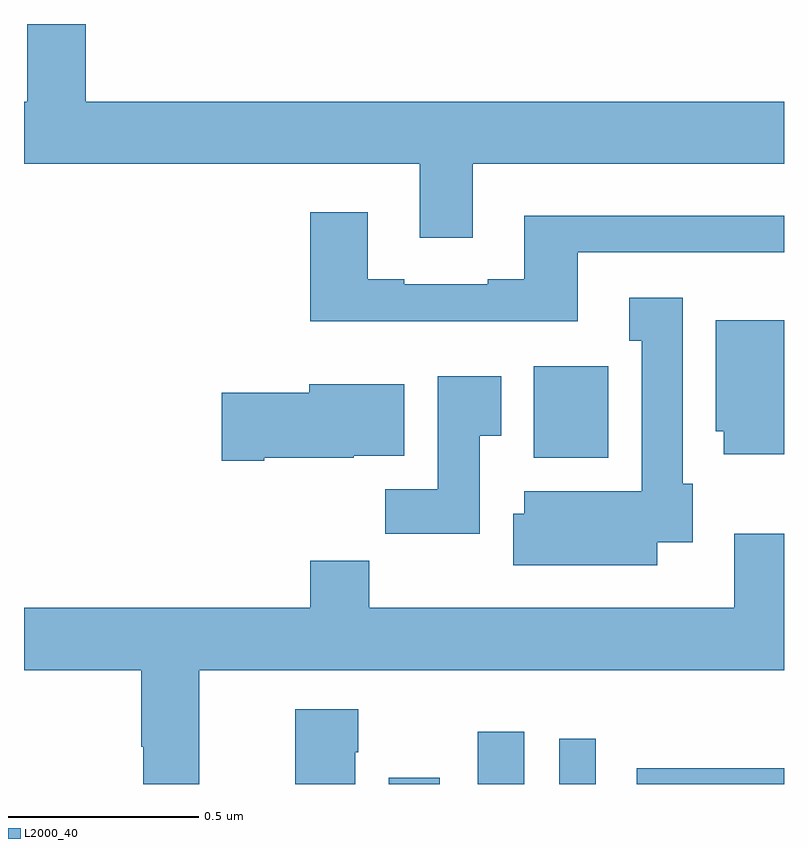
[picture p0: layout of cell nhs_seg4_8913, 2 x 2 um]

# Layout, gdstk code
import gdstk
lib = gdstk.Library(unit=1e-6, precision=1e-09)
def R(c, l, rs):  # rectangles x0, y0, x1, y1
    for r in rs: c.add(gdstk.rectangle(r[:2], r[2:], *l))
def P(c, l, *ps):  # polygons
    for p in ps: c.add(gdstk.Polygon(p, *l))
L2000_40 = (2000, 40)

nhs_seg4_8913 = lib.new_cell('nhs_seg4_8913')
R(nhs_seg4_8913, L2000_40, [(221.96,749.9,222.094,749.917), (222.194,749.9,222.316,750.037), (222.408,749.9,222.504,750.019), (222.612,749.9,223,749.941), (222.341,750.758,222.538,751)])
P(nhs_seg4_8913, L2000_40, [(222.181,751.532),(223,751.532),(223,751.696),(221.162,751.696),(221.162,751.9),(221.009,751.9),(221.009,751.696),(221,751.696),(221,751.532),(222.041,751.532),(222.041,751.338),(222.181,751.338)],
  [(222.457,751.299),(223,751.299),(223,751.396),(222.317,751.396),(222.317,751.228),(222.221,751.228),(222.221,751.215),(222.001,751.215),(222.001,751.228),(221.905,751.228),(221.905,751.405),(221.753,751.405),(221.753,751.118),(222.457,751.118)],
  [(222.667,750.536),(222.76,750.536),(222.76,750.69),(222.733,750.69),(222.733,751.18),(222.593,751.18),(222.593,751.067),(222.626,751.067),(222.626,750.67),(222.317,750.67),(222.317,750.611),(222.287,750.611),(222.287,750.476),(222.667,750.476)],
  [(223,751.12),(222.821,751.12),(222.821,750.828),(222.842,750.828),(222.842,750.768),(223,750.768)],
  [(222.199,750.817),(222.256,750.817),(222.256,750.973),(222.089,750.973),(222.089,750.676),(221.95,750.676),(221.95,750.558),(222.199,750.558)],
  [(221.632,750.758),(221.868,750.758),(221.868,750.764),(222.001,750.764),(222.001,750.952),(221.75,750.952),(221.75,750.929),(221.52,750.929),(221.52,750.751),(221.632,750.751)],
  [(221.461,750.2),(223,750.2),(223,750.559),(222.869,750.559),(222.869,750.364),(221.909,750.364),(221.909,750.488),(221.753,750.488),(221.753,750.364),(221,750.364),(221,750.2),(221.309,750.2),(221.309,749.998),(221.314,749.998),(221.314,749.9),(221.461,749.9)],
  [(221.872,749.984),(221.88,749.984),(221.88,750.097),(221.714,750.097),(221.714,749.9),(221.872,749.9)])

lib.write_gds('nhs_seg4_8913.gds')
